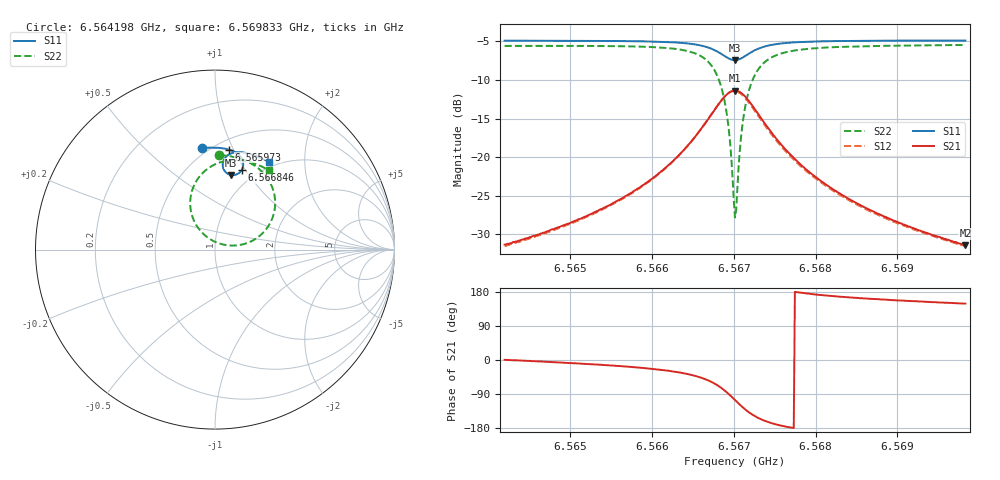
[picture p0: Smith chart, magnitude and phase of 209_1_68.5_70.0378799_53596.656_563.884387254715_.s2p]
#  HZ  S  RI  R  50.00
! Rohde & Schwarz Vector Network Analyzer
! Rohde-Schwarz,ZNB20-2Port,1311601062101988,3.16
! Created: UTC 3/20/2024, 4:57:57 PM
! freq[Hz]  re:S11  im:S11  re:S21  im:S21  re:S12  im:S12  re:S22  im:S22
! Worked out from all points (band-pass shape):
!   401 points, 6.564198 GHz to 6.569833 GHz, reference 50 ohm
!   highest |S21| = -11.36 dB at 6.567015 GHz (marker M1); lowest = -31.4 dB at 6.569833 GHz (marker M2)
!   |S21| within 3 dB of the highest: 6.566733 GHz to 6.567297 GHz (563.6 kHz wide, 0.00858 % of centre)
!   lowest |S11| = -7.4 dB at 6.567015 GHz (marker M3), VSWR 2.48, Z = 40.7 + j41.4 ohm
!   |S11| at or under -10 dB: nowhere
!   |S22| runs from -27.8 to -5.5 dB; largest |S21 - S12| = 0.013
!   S11 on the Smith chart (normalised r, x): 6.564198 GHz: 0.46, +0.77; 6.565973 GHz: 0.59, +0.96; 6.566846 GHz: 0.85, +0.96; 6.569833 GHz: 0.92, +1.33
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6.5641977e9  -0.0748 0.5642  0.0272 0.000199  0.0266 -0.000191  0.0249 0.5259
6.5651416e9  0.00189 0.5681  0.0397 -0.00676  0.0391 -0.00738  0.1128 0.5143
6.5659727e9  0.078 0.557  0.0654 -0.0273  0.0643 -0.0281  0.2164 0.4709
6.5660854e9  0.0896 0.553  0.0712 -0.0339  0.0701 -0.0345  0.2347 0.4582
6.5663953e9  0.1247 0.5346  0.0918 -0.0649  0.0903 -0.0663  0.2934 0.3963
6.5666066e9  0.1488 0.5069  0.1049 -0.1128  0.1025 -0.115  0.3313 0.3035
6.5667475e9  0.1573 0.474  0.098 -0.1704  0.0937 -0.1735  0.3258 0.1938
6.5668461e9  0.149 0.4436  0.0663 -0.2228  0.059 -0.2254  0.2695 0.0957
6.5668884e9  0.139 0.4309  0.0409 -0.2435  0.0319 -0.2454  0.223 0.0577
6.5669307e9  0.1247 0.4208  0.0076 -0.2591  -0.00288 -0.2592  0.1623 0.0311
6.5669588e9  0.1131 0.4165  -0.0182 -0.2648  -0.0292 -0.2631  0.1157 0.023
6.5670011e9  0.094 0.4153  -0.0593 -0.2636  -0.0705 -0.2589  0.0429 0.0287
6.5670152e9  0.0875 0.4163  -0.0731 -0.2604  -0.0839 -0.2548  0.0192 0.0358
6.5670433e9  0.0753 0.4206  -0.0988 -0.2504  -0.1089 -0.2427  -0.025 0.0568
6.5670856e9  0.0598 0.4316  -0.1319 -0.2269  -0.1396 -0.2172  -0.0792 0.1024
6.5671279e9  0.0492 0.446  -0.1554 -0.1972  -0.1605 -0.1866  -0.1155 0.1573
6.5671842e9  0.0431 0.467  -0.1718 -0.1558  -0.1738 -0.1454  -0.1367 0.2316
6.5672547e9  0.0454 0.4904  -0.1745 -0.1101  -0.1735 -0.1012  -0.1323 0.3111
6.5675082e9  0.0836 0.5333  -0.1321 -0.0245  -0.1292 -0.0206  -0.0363 0.454
6.567959e9  0.1443 0.5427  -0.077 0.00819  -0.0753 0.00941  0.0913 0.4984
6.5689029e9  0.2306 0.5207  -0.0372 0.0146  -0.0363 0.0149  0.221 0.4791
6.5698326e9  0.2982 0.4869  -0.0231 0.014  -0.0225 0.0141  0.3003 0.4411
